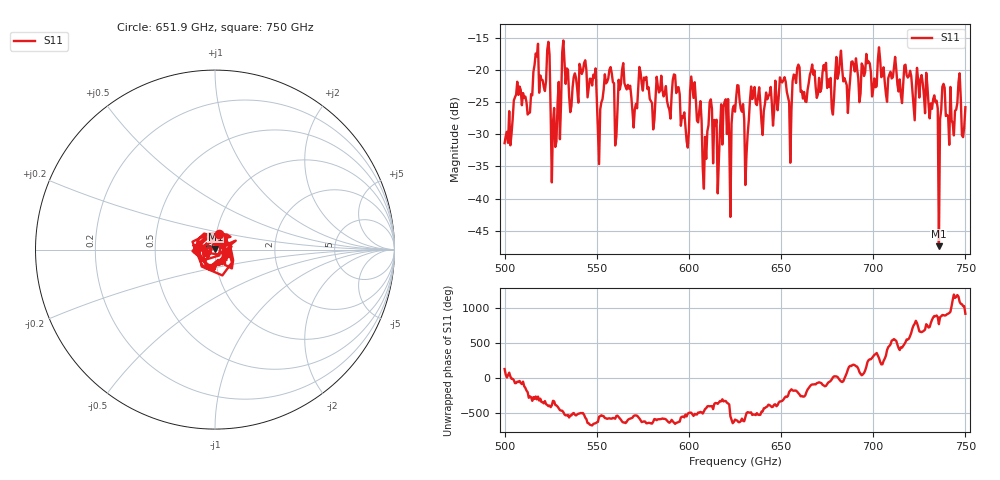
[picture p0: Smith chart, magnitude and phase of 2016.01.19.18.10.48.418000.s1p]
!Created with skrf (http://scikit-rf.org).
# GHz S RI R 50.0
!freq ReS11 ImS11
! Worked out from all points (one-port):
!   401 points, 500 GHz to 750 GHz, reference 50 ohm
!   lowest |S11| = -47.4 dB at 735.6 GHz (marker M1), VSWR 1.01, Z = 50.3 + j0.331 ohm
!   |S11| at or under -10 dB: start of sweep to end of sweep
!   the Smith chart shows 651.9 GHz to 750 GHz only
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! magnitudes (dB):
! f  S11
! 500 GHz  -31.4
! 506.9 GHz  -21.9
! 513.8 GHz  -26.6
! 516.9 GHz  -17.5
! 523.8 GHz  -15.7
! 526.9 GHz  -25.9
! 531.2 GHz  -17.3
! 548.1 GHz  -20.8
! 551.9 GHz  -26.2
! 555.6 GHz  -21.9
! 562.5 GHz  -23.1
! 593.8 GHz  -22.7
! 598.8 GHz  -31.1
! 602.5 GHz  -24.4
! 608.8 GHz  -30.4
! 611.2 GHz  -25.0
! 616.9 GHz  -29.3
! 620 GHz  -24.6
! 621.9 GHz  -30.8
! 625 GHz  -26.5
! 631.2 GHz  -33.1
! 634.4 GHz  -24.5
! 656.2 GHz  -21.8
! 687.5 GHz  -21.4
! 718.8 GHz  -21.2
! 735.6 GHz  -47.4
! 737.5 GHz  -22.6
! 750 GHz  -25.8
